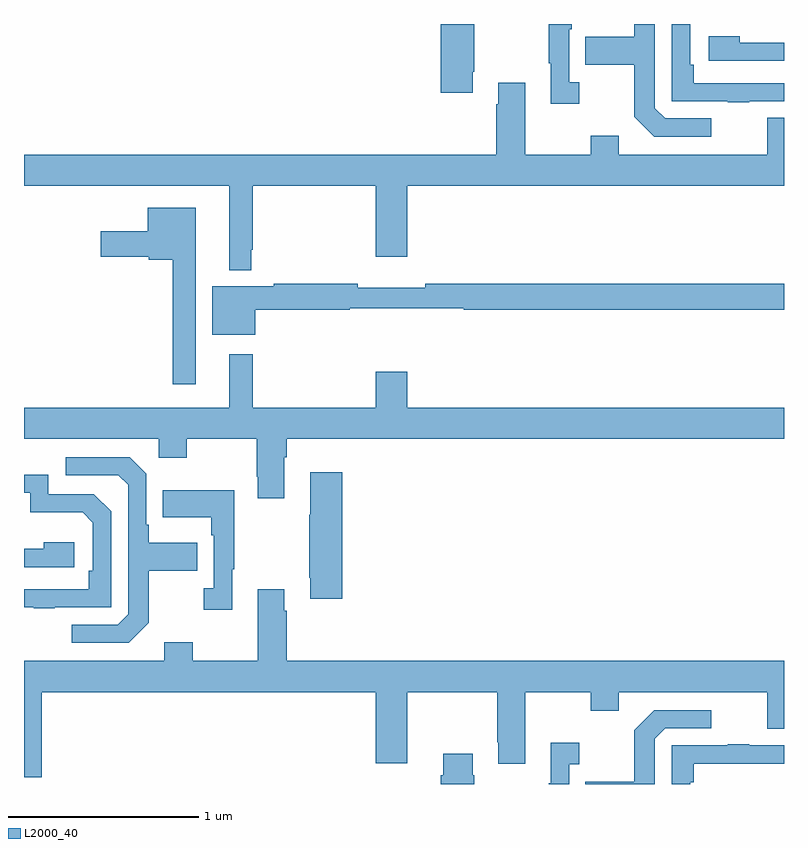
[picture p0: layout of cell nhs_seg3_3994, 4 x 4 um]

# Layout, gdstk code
import gdstk
lib = gdstk.Library(unit=1e-6, precision=1e-09)
def P(c, l, *ps):  # polygons
    for p in ps: c.add(gdstk.Polygon(p, *l))
L2000_40 = (2000, 40)

nhs_seg3_3994 = lib.new_cell('nhs_seg3_3994')
P(nhs_seg3_3994, L2000_40, [(322.618,735.903),(322.374,735.903),(322.32,735.957),(322.32,736.4),(322.212,736.4),(322.212,736.333),(321.955,736.333),(321.955,736.186),(322.212,736.186),(322.212,735.913),(322.317,735.807),(322.618,735.807)],
  [(321.361,736.15),(321.369,736.15),(321.369,736.4),(321.194,736.4),(321.194,736.038),(321.361,736.038)],
  [(322.817,735.993),(323,735.993),(323,736.089),(322.526,736.089),(322.526,736.186),(322.506,736.186),(322.506,736.4),(322.41,736.4),(322.41,735.993),(322.705,735.993),(322.705,735.988),(322.817,735.988)],
  [(321.922,736.094),(321.87,736.094),(321.87,736.373),(321.883,736.373),(321.883,736.4),(321.762,736.4),(321.762,736.193),(321.773,736.193),(321.773,735.981),(321.922,735.981)],
  [(323,736.302),(322.766,736.302),(322.766,736.336),(322.605,736.336),(322.605,736.206),(323,736.206)],
  [(319,735.548),(320.081,735.548),(320.081,735.104),(320.196,735.104),(320.196,735.211),(320.203,735.211),(320.203,735.548),(320.852,735.548),(320.852,735.174),(321.016,735.174),(321.016,735.548),(323,735.548),(323,735.907),(322.913,735.907),(322.913,735.712),(322.129,735.712),(322.129,735.811),(321.982,735.811),(321.982,735.712),(321.637,735.712),(321.637,736.09),(321.497,736.09),(321.497,735.977),(321.485,735.977),(321.485,735.712),(319,735.712)],
  [(319.903,735.433),(319.652,735.433),(319.652,735.31),(319.404,735.31),(319.404,735.176),(319.656,735.176),(319.656,735.158),(319.782,735.158),(319.782,734.505),(319.903,734.505)],
  [(320.218,734.896),(320.714,734.896),(320.714,734.904),(321.314,734.904),(321.314,734.896),(323,734.896),(323,735.032),(321.112,735.032),(321.112,735.013),(320.756,735.013),(320.756,735.032),(320.314,735.032),(320.314,735.019),(319.991,735.019),(319.991,734.765),(320.218,734.765)],
  [(320.371,734.12),(320.384,734.12),(320.384,734.216),(323,734.216),(323,734.38),(321.016,734.38),(321.016,734.569),(320.852,734.569),(320.852,734.38),(320.203,734.38),(320.203,734.662),(320.081,734.662),(320.081,734.38),(319,734.38),(319,734.216),(319.71,734.216),(319.71,734.117),(319.857,734.117),(319.857,734.216),(320.224,734.216),(320.224,734.017),(320.231,734.017),(320.231,733.905),(320.371,733.905)],
  [(319.657,733.249),(319.657,733.522),(319.913,733.522),(319.913,733.669),(319.657,733.669),(319.657,733.765),(319.644,733.765),(319.644,734.034),(319.557,734.121),(319.221,734.121),(319.221,734.025),(319.497,734.025),(319.548,733.974),(319.548,733.293),(319.494,733.239),(319.251,733.239),(319.251,733.143),(319.551,733.143)],
  [(320.675,734.041),(320.507,734.041),(320.507,733.817),(320.5,733.817),(320.5,733.486),(320.507,733.486),(320.507,733.374),(320.675,733.374)],
  [(319.163,733.329),(319.458,733.329),(319.458,733.836),(319.368,733.926),(319.128,733.926),(319.128,734.028),(319,734.028),(319,733.932),(319.032,733.932),(319.032,733.829),(319.309,733.829),(319.362,733.776),(319.362,733.522),(319.342,733.522),(319.342,733.425),(319,733.425),(319,733.329),(319.051,733.329),(319.051,733.324),(319.163,733.324)],
  [(320.095,733.529),(320.107,733.529),(320.107,733.945),(319.729,733.945),(319.729,733.805),(319.986,733.805),(319.986,733.709),(319.998,733.709),(319.998,733.43),(319.947,733.43),(319.947,733.317),(320.095,733.317)],
  [(319.264,733.672),(319.103,733.672),(319.103,733.638),(319,733.638),(319,733.542),(319.264,733.542)],
  [(319.093,732.884),(320.852,732.884),(320.852,732.51),(321.016,732.51),(321.016,732.884),(321.49,732.884),(321.49,732.619),(321.497,732.619),(321.497,732.507),(321.637,732.507),(321.637,732.884),(321.982,732.884),(321.982,732.785),(322.129,732.785),(322.129,732.884),(322.913,732.884),(322.913,732.69),(323,732.69),(323,733.048),(320.384,733.048),(320.384,733.313),(320.371,733.313),(320.371,733.426),(320.231,733.426),(320.231,733.048),(319.887,733.048),(319.887,733.147),(319.739,733.147),(319.739,733.048),(319,733.048),(319,732.435),(319.093,732.435)],
  [(322.32,732.639),(322.374,732.693),(322.618,732.693),(322.618,732.789),(322.317,732.789),(322.212,732.683),(322.212,732.411),(321.955,732.411),(321.955,732.4),(322.32,732.4)],
  [(321.87,732.503),(321.922,732.503),(321.922,732.616),(321.773,732.616),(321.773,732.403),(321.762,732.403),(321.762,732.4),(321.87,732.4)],
  [(322.506,732.41),(322.526,732.41),(322.526,732.507),(323,732.507),(323,732.603),(322.817,732.603),(322.817,732.608),(322.705,732.608),(322.705,732.603),(322.41,732.603),(322.41,732.4),(322.506,732.4)],
  [(321.369,732.446),(321.361,732.446),(321.361,732.559),(321.206,732.559),(321.206,732.446),(321.194,732.446),(321.194,732.4),(321.369,732.4)])

lib.write_gds('nhs_seg3_3994.gds')
